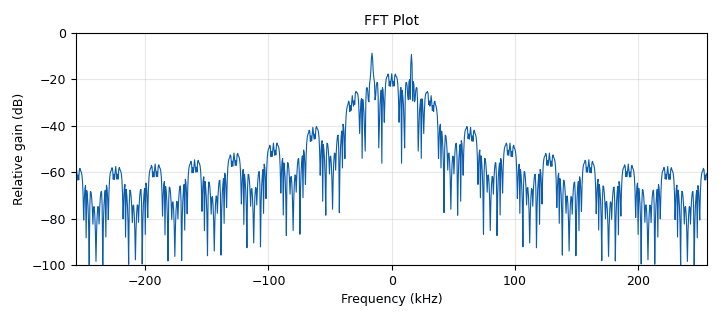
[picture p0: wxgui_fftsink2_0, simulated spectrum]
<?xml version='1.0' encoding='utf-8'?>
<?grc format='1' created='3.7.5'?>
<flow_graph>
<block>
<key>options</key>
<param><key>id</key><value>top_block</value></param>
<param><key>generate_options</key><value>wx_gui</value></param>
<param><key>category</key><value>Custom</value></param>
</block>
<block>
<key>variable</key>
<param><key>id</key><value>samp_rate</value></param>
<param><key>value</key><value>512000</value></param>
</block>
<block>
<key>variable</key>
<param><key>id</key><value>mod_index</value></param>
<param><key>value</key><value>1</value></param>
</block>
<block>
<key>analog_random_source_x</key>
<param><key>id</key><value>analog_random_source_x_0</value></param>
<param><key>type</key><value>byte</value></param>
<param><key>min</key><value>0</value></param>
<param><key>max</key><value>2</value></param>
<param><key>num_samps</key><value>100000</value></param>
<param><key>repeat</key><value>True</value></param>
</block>
<block>
<key>low_pass_filter</key>
<param><key>id</key><value>low_pass_filter_0</value></param>
<param><key>type</key><value>fir_filter_ccf</value></param>
<param><key>decim</key><value>1</value></param>
<param><key>gain</key><value>1</value></param>
<param><key>samp_rate</key><value>samp_rate</value></param>
<param><key>cutoff_freq</key><value>filter_co</value></param>
<param><key>width</key><value>500</value></param>
<param><key>win</key><value>firdes.WIN_HAMMING</value></param>
</block>
<block>
<key>wxgui_fftsink2</key>
<param><key>id</key><value>wxgui_fftsink2_0</value></param>
<param><key>type</key><value>complex</value></param>
<param><key>title</key><value>FFT Plot</value></param>
<param><key>samp_rate</key><value>samp_rate</value></param>
<param><key>baseband_freq</key><value>0</value></param>
<param><key>y_per_div</key><value>10</value></param>
<param><key>y_divs</key><value>10</value></param>
<param><key>ref_level</key><value>0</value></param>
<param><key>ref_scale</key><value>2.0</value></param>
<param><key>fft_size</key><value>1024</value></param>
<param><key>fft_rate</key><value>15</value></param>
<param><key>peak_hold</key><value>False</value></param>
<param><key>average</key><value>False</value></param>
<param><key>avg_alpha</key><value>0</value></param>
<param><key>win</key><value>None</value></param>
<param><key>freqvar</key><value>None</value></param>
</block>
<block>
<key>uhd_usrp_sink</key>
<param><key>id</key><value>uhd_usrp_sink_0</value></param>
<param><key>type</key><value>fc32</value></param>
<param><key>dev_addr</key><value>addr=192.168.10.3</value></param>
<param><key>dev_args</key><value>""</value></param>
<param><key>sync</key><value></value></param>
<param><key>clock_rate</key><value>0.0</value></param>
<param><key>samp_rate</key><value>samp_rate</value></param>
<param><key>center_freq0</key><value>usrp_fc</value></param>
<param><key>gain0</key><value>0</value></param>
<param><key>ant0</key><value></value></param>
<param><key>len_tag_name</key><value></value></param>
</block>
<block>
<key>variable_slider</key>
<param><key>id</key><value>filter_co</value></param>
<param><key>label</key><value></value></param>
<param><key>value</key><value>256000</value></param>
<param><key>min</key><value>1000</value></param>
<param><key>max</key><value>256000</value></param>
<param><key>num_steps</key><value>1000</value></param>
<param><key>style</key><value>wx.SL_HORIZONTAL</value></param>
<param><key>converver</key><value>float_converter</value></param>
</block>
<block>
<key>variable_slider</key>
<param><key>id</key><value>usrp_fc</value></param>
<param><key>label</key><value></value></param>
<param><key>value</key><value>1000256000</value></param>
<param><key>min</key><value>1000000000</value></param>
<param><key>max</key><value>1000512000</value></param>
<param><key>num_steps</key><value>1000</value></param>
<param><key>style</key><value>wx.SL_HORIZONTAL</value></param>
<param><key>converver</key><value>float_converter</value></param>
</block>
<block>
<key>analog_cpfsk_bc</key>
<param><key>id</key><value>analog_cpfsk_bc_0</value></param>
<param><key>k</key><value>mod_index</value></param>
<param><key>amplitude</key><value>1</value></param>
<param><key>samples_per_symbol</key><value>16</value></param>
</block>
<connection><source_block_id>analog_random_source_x_0</source_block_id><sink_block_id>analog_cpfsk_bc_0</sink_block_id><source_key>0</source_key><sink_key>0</sink_key></connection>
<connection><source_block_id>analog_cpfsk_bc_0</source_block_id><sink_block_id>low_pass_filter_0</sink_block_id><source_key>0</source_key><sink_key>0</sink_key></connection>
<connection><source_block_id>low_pass_filter_0</source_block_id><sink_block_id>wxgui_fftsink2_0</sink_block_id><source_key>0</source_key><sink_key>0</sink_key></connection>
<connection><source_block_id>low_pass_filter_0</source_block_id><sink_block_id>uhd_usrp_sink_0</sink_block_id><source_key>0</source_key><sink_key>0</sink_key></connection>
</flow_graph>
